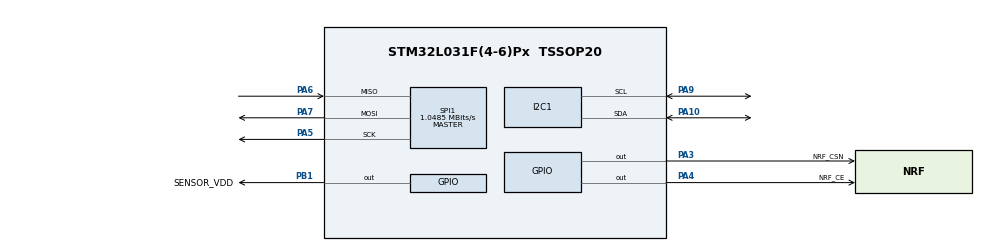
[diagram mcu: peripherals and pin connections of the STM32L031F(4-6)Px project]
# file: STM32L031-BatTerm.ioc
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ADC.LowPowerAutoWait=ENABLE
ADC.SamplingTime=ADC_SAMPLETIME_19CYCLES_5
I2C1.Timing=0x00000608
IWDG.Prescaler=IWDG_PRESCALER_256
Mcu.Family=STM32L0
Mcu.Name=STM32L031F(4-6)Px
Mcu.Package=TSSOP20
NVIC.RTC_IRQn=true\:0\:0\:false\:false\:true\:true\:true\:true
PA10.Mode=I2C
PA10.Signal=I2C1_SDA
PA13.Mode=Serial_Wire
PA13.Signal=SYS_SWDIO
PA14.Mode=Serial_Wire
PA14.Signal=SYS_SWCLK
PA3.GPIO_Label=NRF_CSN
PA3.PinState=GPIO_PIN_SET
PA3.Signal=GPIO_Output
PA4.GPIO_Label=NRF_CE
PA4.PinState=GPIO_PIN_RESET
PA4.Signal=GPIO_Output
PA5.Mode=Full_Duplex_Master
PA5.Signal=SPI1_SCK
PA6.Mode=Full_Duplex_Master
PA6.Signal=SPI1_MISO
PA7.Mode=Full_Duplex_Master
PA7.Signal=SPI1_MOSI
PA9.Mode=I2C
PA9.Signal=I2C1_SCL
PB1.GPIO_Label=SENSOR_VDD
PB1.Signal=GPIO_Output
ProjectManager.HeapSize=0x200
ProjectManager.StackSize=0x400
ProjectManager.TargetToolchain=CMake
RCC.AHBFreq_Value=2097000
RCC.APB1Freq_Value=2097000
RCC.APB1TimFreq_Value=2097000
RCC.APB2Freq_Value=2097000
RCC.APB2TimFreq_Value=2097000
RCC.HSE_VALUE=8000000
RCC.HSI16_VALUE=16000000
RCC.HSI_VALUE=16000000
RCC.I2c1ClockSelection=RCC_I2C1CLKSOURCE_SYSCLK
RCC.LSE_VALUE=32768
RCC.LptimClockSelection=RCC_LPTIM1CLKSOURCE_LSI
RCC.MSI_VALUE=2097000
RCC.SYSCLKFreq_VALUE=2097000
RCC.VCOOutputFreq_Value=48000000
SPI1.CalculateBaudRate=1.0485 MBits/s
SPI1.Direction=SPI_DIRECTION_2LINES
SPI1.Mode=SPI_MODE_MASTER
SPI1.VirtualType=VM_MASTER
TIM22.Prescaler=1
VP_ADC_Vref_Input.Mode=IN-Vrefint
VP_IWDG_VS_IWDG.Mode=IWDG_Activate
VP_RTC_VS_RTC_Activate.Mode=RTC_Enabled
VP_RTC_VS_RTC_WakeUp_intern.Mode=WakeUp
VP_TIM22_VS_ClockSourceINT.Mode=Internal
board=custom

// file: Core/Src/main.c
/* USER CODE BEGIN Header */
/**
  ******************************************************************************
  * @file           : main.c
  * @brief          : Main program body
  ******************************************************************************
  * @attention
  *
  * Copyright (c) 2026 STMicroelectronics.
  * All rights reserved.
  *
  * This software is licensed under terms that can be found in the LICENSE file
  * in the root directory of this software component.
  * If no LICENSE file comes with this software, it is provided AS-IS.
  *
  ******************************************************************************
  */
/* USER CODE END Header */
#include "main.h"

/* USER CODE BEGIN Includes */
#include "stm32l0xx_ll_pwr.h"
#include "stm32l0xx_ll_exti.h"
#include "stm32l0xx_ll_cortex.h"
#include "SEGGER_RTT.h"
#include "aht20.h"
#include "bmp280.h"
#include "nrf24l01.h"
#include "bsp.h"
#include "bsp_periph.h"
/* USER CODE END Includes */

/* USER CODE BEGIN PD */
// #define debug

#define SLEEP_ONE_PHASE_TIME_MS 15000
#define SLEEP_PHASES_NUMBER     40

#define SLEEP_JITTER_LIMIT      10000
/* USER CODE END PD */

/* USER CODE BEGIN PM */
#ifdef debug
    #define DEBUG_RTT_Init()                        SEGGER_RTT_Init()
    #define DEBUG_RTT_WriteString(buffer_index, s)  SEGGER_RTT_WriteString(buffer_index, s)
    #define DEBUG_RTT_PutChar(buffer_index, s)      SEGGER_RTT_PutChar(buffer_index, s)
#else
    #define DEBUG_RTT_Init()
    #define DEBUG_RTT_WriteInt(buffer_index, num)
    #define DEBUG_RTT_WriteString(buffer_index, s)
    #define DEBUG_RTT_PutChar(buffer_index, s)
#endif
/* USER CODE END PM */

/* USER CODE BEGIN PV */
volatile uint32_t system_ticks = 0;
/* USER CODE END PV */

void SystemClock_Config(void);
static void MX_GPIO_Init(void);
static void MX_I2C1_Init(void);
static void MX_SPI1_Init(void);
static void MX_IWDG_Init(void);
static void MX_TIM22_Init(void);
static void MX_ADC_Init(void);
static void MX_RTC_Init(void);
/* USER CODE BEGIN PFP */
#ifdef debug
void DEBUG_RTT_WriteInt(uint8_t buffer_index, int num);
#endif
/* USER CODE END PFP */

int main(void)
{

  /* USER CODE BEGIN 1 */
  AHT20_Data_t aht20_data;
  BMP280_Data_t bmp280_data;
  NRF24_Data_t nrf24_data;
  uint32_t wakeup_counter = 0;
  uint32_t rand_num = 0;
  /* USER CODE END 1 */

  /* MCU Configuration--------------------------------------------------------*/

  /* Reset of all peripherals, Initializes the Flash interface and the Systick. */
  LL_APB2_GRP1_EnableClock(LL_APB2_GRP1_PERIPH_SYSCFG);
  LL_APB1_GRP1_EnableClock(LL_APB1_GRP1_PERIPH_PWR);

  /* SysTick_IRQn interrupt configuration */
  NVIC_SetPriority(SysTick_IRQn, 3);

  /* Configure the system clock */
  SystemClock_Config();

  /* USER CODE BEGIN SysInit */
  LL_SYSTICK_EnableIT();
  LL_mDelay(2000); //SWD escape window to prevent bricking
  /* USER CODE END SysInit */

  /* Initialize all configured peripherals */
  MX_GPIO_Init();
  MX_I2C1_Init();
  MX_SPI1_Init();
  MX_IWDG_Init();
  MX_TIM22_Init();
  MX_ADC_Init();
  MX_RTC_Init();
  /* USER CODE BEGIN 2 */
  LL_PWR_EnableUltraLowPower();

  rand_num = BSP_GetUID();

  #ifdef debug
  DEBUG_RTT_Init();
  DEBUG_RTT_WriteString(0, "RTT initialized.\r\n");
  DEBUG_RTT_WriteString(0, "RCC-CSR: 0x");
  DEBUG_RTT_WriteInt(0, RCC->CSR);
  DEBUG_RTT_PutChar(0, '\n');
  SET_BIT(RCC->CSR, RCC_CSR_RMVF);
  #endif

  BSP_PeriphModeActive();
  NRF24_Init(SPI1);   DEBUG_RTT_WriteString(0, "NRF configured\r\n");
  BMP280_GetCoef(I2C1);  DEBUG_RTT_WriteString(0, "BMP configured\r\n");
  BSP_PeriphModeSleep();
  /* USER CODE END 2 */

  /* Infinite loop */
  while (1)
  {

    /* USER CODE BEGIN 3 */
    nrf24_data.voltage_level = BSP_GetVoltageLevel();

    DEBUG_RTT_WriteString(0, "Periph wake up");
    BSP_PeriphModeActive();

    if(!AHT20_GetData(I2C1, &aht20_data)) {
      BSP_ErrorSet(ERR_SENSORS_ERROR);
      DEBUG_RTT_WriteString(0, "AHT20 Error\n");
    }

    if(!BMP280_GetData(I2C1, &bmp280_data)) {
      BSP_ErrorSet(ERR_SENSORS_ERROR);
      DEBUG_RTT_WriteString(0, "BMP280 Error\n");
    }

    nrf24_data.uid         = BSP_GetUID();
    nrf24_data.temperature = aht20_data.temperature;
    nrf24_data.humidity    = aht20_data.humidity;
    nrf24_data.pressure    = bmp280_data.pressure;
    nrf24_data.errors      = BSP_GetErrors();
    NRF24_TransmitData(SPI1, &nrf24_data, sizeof(nrf24_data));

    BSP_PeriphModeSleep();
    DEBUG_RTT_WriteString(0, "Periph sleep");

    #ifdef debug
    while (SEGGER_RTT_HasDataUp(0) != 0);
    LL_mDelay(5000);
    #endif

    wakeup_counter = 0;
    while (wakeup_counter < SLEEP_PHASES_NUMBER) {
      LL_IWDG_ReloadCounter(IWDG);

      BSP_LowPowerDelay(SLEEP_ONE_PHASE_TIME_MS);

      wakeup_counter++;
    }
    LL_IWDG_ReloadCounter(IWDG);
    uint32_t jitter_sleep_time = (uint32_t)(((uint64_t)BSP_GetRandNum(&rand_num) * SLEEP_JITTER_LIMIT) >> 32);
    BSP_LowPowerDelay(jitter_sleep_time);
  }
  /* USER CODE END 3 */
}

#pragma region SYSTEM_INITS

void SystemClock_Config(void)
{
  LL_FLASH_SetLatency(LL_FLASH_LATENCY_0);
  while(LL_FLASH_GetLatency()!= LL_FLASH_LATENCY_0)
  {
  }
  LL_PWR_SetRegulVoltageScaling(LL_PWR_REGU_VOLTAGE_SCALE1);
  while (LL_PWR_IsActiveFlag_VOS() != 0)
  {
  }
  LL_RCC_LSI_Enable();

   /* Wait till LSI is ready */
  while(LL_RCC_LSI_IsReady() != 1)
  {

  }
  LL_RCC_MSI_Enable();

   /* Wait till MSI is ready */
  while(LL_RCC_MSI_IsReady() != 1)
  {

  }
  LL_RCC_MSI_SetRange(LL_RCC_MSIRANGE_5);
  LL_RCC_MSI_SetCalibTrimming(0);
  LL_PWR_EnableBkUpAccess();
  if(LL_RCC_GetRTCClockSource() != LL_RCC_RTC_CLKSOURCE_LSI)
  {
    LL_RCC_ForceBackupDomainReset();
    LL_RCC_ReleaseBackupDomainReset();
    LL_RCC_SetRTCClockSource(LL_RCC_RTC_CLKSOURCE_LSI);
  }
  LL_RCC_EnableRTC();
  LL_RCC_SetAHBPrescaler(LL_RCC_SYSCLK_DIV_1);
  LL_RCC_SetAPB1Prescaler(LL_RCC_APB1_DIV_1);
  LL_RCC_SetAPB2Prescaler(LL_RCC_APB2_DIV_1);
  LL_RCC_SetSysClkSource(LL_RCC_SYS_CLKSOURCE_MSI);

   /* Wait till System clock is ready */
  while(LL_RCC_GetSysClkSource() != LL_RCC_SYS_CLKSOURCE_STATUS_MSI)
  {

  }

  LL_Init1msTick(2097000);

  LL_SetSystemCoreClock(2097000);
  LL_RCC_SetI2CClockSource(LL_RCC_I2C1_CLKSOURCE_SYSCLK);
}

static void MX_ADC_Init(void)
{

  LL_ADC_REG_InitTypeDef ADC_REG_InitStruct = {0};
  LL_ADC_InitTypeDef ADC_InitStruct = {0};

  /* Peripheral clock enable */
  LL_APB2_GRP1_EnableClock(LL_APB2_GRP1_PERIPH_ADC1);

  /** Configure Regular Channel
  */
  LL_ADC_REG_SetSequencerChAdd(ADC1, LL_ADC_CHANNEL_VREFINT);
  LL_ADC_SetCommonPathInternalCh(__LL_ADC_COMMON_INSTANCE(ADC1), LL_ADC_PATH_INTERNAL_VREFINT);

  /** Common config
  */
  ADC_REG_InitStruct.TriggerSource = LL_ADC_REG_TRIG_SOFTWARE;
  ADC_REG_InitStruct.SequencerDiscont = LL_ADC_REG_SEQ_DISCONT_DISABLE;
  ADC_REG_InitStruct.ContinuousMode = LL_ADC_REG_CONV_SINGLE;
  ADC_REG_InitStruct.DMATransfer = LL_ADC_REG_DMA_TRANSFER_NONE;
  ADC_REG_InitStruct.Overrun = LL_ADC_REG_OVR_DATA_PRESERVED;
  LL_ADC_REG_Init(ADC1, &ADC_REG_InitStruct);
  LL_ADC_SetSamplingTimeCommonChannels(ADC1, LL_ADC_SAMPLINGTIME_19CYCLES_5);
  LL_ADC_SetOverSamplingScope(ADC1, LL_ADC_OVS_DISABLE);
  LL_ADC_REG_SetSequencerScanDirection(ADC1, LL_ADC_REG_SEQ_SCAN_DIR_FORWARD);
  LL_ADC_SetCommonFrequencyMode(__LL_ADC_COMMON_INSTANCE(ADC1), LL_ADC_CLOCK_FREQ_MODE_LOW);
  LL_ADC_DisableIT_EOC(ADC1);
  LL_ADC_DisableIT_EOS(ADC1);
  ADC_InitStruct.Clock = LL_ADC_CLOCK_SYNC_PCLK_DIV1;
  ADC_InitStruct.Resolution = LL_ADC_RESOLUTION_12B;
  ADC_InitStruct.DataAlignment = LL_ADC_DATA_ALIGN_RIGHT;
  ADC_InitStruct.LowPowerMode = LL_ADC_LP_AUTOWAIT;
  LL_ADC_Init(ADC1, &ADC_InitStruct);

  /* Enable ADC internal voltage regulator */
  LL_ADC_EnableInternalRegulator(ADC1);
  /* Delay for ADC internal voltage regulator stabilization. */
  /* Compute number of CPU cycles to wait for, from delay in us. */
  /* Note: Variable divided by 2 to compensate partially */
  /* CPU processing cycles (depends on compilation optimization). */
  /* Note: If system core clock frequency is below 200kHz, wait time */
  /* is only a few CPU processing cycles. */
  uint32_t wait_loop_index;
  wait_loop_index = ((LL_ADC_DELAY_INTERNAL_REGUL_STAB_US * (SystemCoreClock / (100000 * 2))) / 10);
  while(wait_loop_index != 0)
  {
    wait_loop_index--;
  }
  /* USER CODE BEGIN ADC_Init 2 */
  LL_ADC_SetCommonPathInternalCh(__LL_ADC_COMMON_INSTANCE(ADC1), LL_ADC_PATH_INTERNAL_NONE);
  LL_ADC_DisableInternalRegulator(ADC1);
  LL_APB2_GRP1_DisableClock(LL_APB2_GRP1_PERIPH_ADC1);
  /* USER CODE END ADC_Init 2 */

}

static void MX_I2C1_Init(void)
{

  LL_I2C_InitTypeDef I2C_InitStruct = {0};

  LL_GPIO_InitTypeDef GPIO_InitStruct = {0};

  LL_IOP_GRP1_EnableClock(LL_IOP_GRP1_PERIPH_GPIOA);
  /**I2C1 GPIO Configuration
  PA9   ------> I2C1_SCL
  PA10   ------> I2C1_SDA
  */
  GPIO_InitStruct.Pin = LL_GPIO_PIN_9;
  GPIO_InitStruct.Mode = LL_GPIO_MODE_ALTERNATE;
  GPIO_InitStruct.Speed = LL_GPIO_SPEED_FREQ_VERY_HIGH;
  GPIO_InitStruct.OutputType = LL_GPIO_OUTPUT_OPENDRAIN;
  GPIO_InitStruct.Pull = LL_GPIO_PULL_NO;
  GPIO_InitStruct.Alternate = LL_GPIO_AF_1;
  LL_GPIO_Init(GPIOA, &GPIO_InitStruct);

  GPIO_InitStruct.Pin = LL_GPIO_PIN_10;
  GPIO_InitStruct.Mode = LL_GPIO_MODE_ALTERNATE;
  GPIO_InitStruct.Speed = LL_GPIO_SPEED_FREQ_VERY_HIGH;
  GPIO_InitStruct.OutputType = LL_GPIO_OUTPUT_OPENDRAIN;
  GPIO_InitStruct.Pull = LL_GPIO_PULL_NO;
  GPIO_InitStruct.Alternate = LL_GPIO_AF_1;
  LL_GPIO_Init(GPIOA, &GPIO_InitStruct);

  /* Peripheral clock enable */
  LL_APB1_GRP1_EnableClock(LL_APB1_GRP1_PERIPH_I2C1);

  /** I2C Initialization
  */
  LL_I2C_EnableAutoEndMode(I2C1);
  LL_I2C_DisableOwnAddress2(I2C1);
  LL_I2C_DisableGeneralCall(I2C1);
  LL_I2C_EnableClockStretching(I2C1);
  I2C_InitStruct.PeripheralMode = LL_I2C_MODE_I2C;
  I2C_InitStruct.Timing = 0x00000608;
  I2C_InitStruct.AnalogFilter = LL_I2C_ANALOGFILTER_ENABLE;
  I2C_InitStruct.DigitalFilter = 0;
  I2C_InitStruct.OwnAddress1 = 0;
  I2C_InitStruct.TypeAcknowledge = LL_I2C_ACK;
  I2C_InitStruct.OwnAddrSize = LL_I2C_OWNADDRESS1_7BIT;
  LL_I2C_Init(I2C1, &I2C_InitStruct);
  LL_I2C_SetOwnAddress2(I2C1, 0, LL_I2C_OWNADDRESS2_NOMASK);

}

static void MX_IWDG_Init(void)
{

  LL_IWDG_Enable(IWDG);
  LL_IWDG_EnableWriteAccess(IWDG);
  LL_IWDG_SetPrescaler(IWDG, LL_IWDG_PRESCALER_256);
  LL_IWDG_SetReloadCounter(IWDG, 4095);
  while (LL_IWDG_IsReady(IWDG) != 1)
  {
  }

  LL_IWDG_ReloadCounter(IWDG);

}

static void MX_RTC_Init(void)
{

  LL_RTC_InitTypeDef RTC_InitStruct = {0};

  /* Peripheral clock enable */
  LL_RCC_EnableRTC();

  /* RTC interrupt Init */
  NVIC_SetPriority(RTC_IRQn, 0);
  NVIC_EnableIRQ(RTC_IRQn);

  /** Initialize RTC and set the Time and Date
  */
  RTC_InitStruct.HourFormat = LL_RTC_HOURFORMAT_24HOUR;
  RTC_InitStruct.AsynchPrescaler = 127;
  RTC_InitStruct.SynchPrescaler = 255;
  LL_RTC_Init(RTC, &RTC_InitStruct);

  /** Initialize RTC and set the Time and Date
  */

  /** Enable the WakeUp
  */
  LL_RTC_WAKEUP_SetClock(RTC, LL_RTC_WAKEUPCLOCK_DIV_16);
  /* USER CODE BEGIN RTC_Init 2 */
  LL_RTC_DisableWriteProtection(RTC);
  LL_RTC_EnableIT_WUT(RTC);
  LL_RTC_EnableWriteProtection(RTC);

  LL_EXTI_EnableIT_0_31(LL_EXTI_LINE_20);
  LL_EXTI_EnableRisingTrig_0_31(LL_EXTI_LINE_20);
  /* USER CODE END RTC_Init 2 */

}

static void MX_SPI1_Init(void)
{

  LL_SPI_InitTypeDef SPI_InitStruct = {0};

  LL_GPIO_InitTypeDef GPIO_InitStruct = {0};

  /* Peripheral clock enable */
  LL_APB2_GRP1_EnableClock(LL_APB2_GRP1_PERIPH_SPI1);

  LL_IOP_GRP1_EnableClock(LL_IOP_GRP1_PERIPH_GPIOA);
  /**SPI1 GPIO Configuration
  PA5   ------> SPI1_SCK
  PA6   ------> SPI1_MISO
  PA7   ------> SPI1_MOSI
  */
  GPIO_InitStruct.Pin = LL_GPIO_PIN_5;
  GPIO_InitStruct.Mode = LL_GPIO_MODE_ALTERNATE;
  GPIO_InitStruct.Speed = LL_GPIO_SPEED_FREQ_VERY_HIGH;
  GPIO_InitStruct.OutputType = LL_GPIO_OUTPUT_PUSHPULL;
  GPIO_InitStruct.Pull = LL_GPIO_PULL_NO;
  GPIO_InitStruct.Alternate = LL_GPIO_AF_0;
  LL_GPIO_Init(GPIOA, &GPIO_InitStruct);

  GPIO_InitStruct.Pin = LL_GPIO_PIN_6;
  GPIO_InitStruct.Mode = LL_GPIO_MODE_ALTERNATE;
  GPIO_InitStruct.Speed = LL_GPIO_SPEED_FREQ_VERY_HIGH;
  GPIO_InitStruct.OutputType = LL_GPIO_OUTPUT_PUSHPULL;
  GPIO_InitStruct.Pull = LL_GPIO_PULL_NO;
  GPIO_InitStruct.Alternate = LL_GPIO_AF_0;
  LL_GPIO_Init(GPIOA, &GPIO_InitStruct);

  GPIO_InitStruct.Pin = LL_GPIO_PIN_7;
  GPIO_InitStruct.Mode = LL_GPIO_MODE_ALTERNATE;
  GPIO_InitStruct.Speed = LL_GPIO_SPEED_FREQ_VERY_HIGH;
  GPIO_InitStruct.OutputType = LL_GPIO_OUTPUT_PUSHPULL;
  GPIO_InitStruct.Pull = LL_GPIO_PULL_NO;
  GPIO_InitStruct.Alternate = LL_GPIO_AF_0;
  LL_GPIO_Init(GPIOA, &GPIO_InitStruct);

  /* SPI1 parameter configuration*/
  SPI_InitStruct.TransferDirection = LL_SPI_FULL_DUPLEX;
  SPI_InitStruct.Mode = LL_SPI_MODE_MASTER;
  SPI_InitStruct.DataWidth = LL_SPI_DATAWIDTH_8BIT;
  SPI_InitStruct.ClockPolarity = LL_SPI_POLARITY_LOW;
  SPI_InitStruct.ClockPhase = LL_SPI_PHASE_1EDGE;
  SPI_InitStruct.NSS = LL_SPI_NSS_SOFT;
  SPI_InitStruct.BaudRate = LL_SPI_BAUDRATEPRESCALER_DIV2;
  SPI_InitStruct.BitOrder = LL_SPI_MSB_FIRST;
  SPI_InitStruct.CRCCalculation = LL_SPI_CRCCALCULATION_DISABLE;
  SPI_InitStruct.CRCPoly = 7;
  LL_SPI_Init(SPI1, &SPI_InitStruct);
  LL_SPI_SetStandard(SPI1, LL_SPI_PROTOCOL_MOTOROLA);
  /* USER CODE BEGIN SPI1_Init 2 */
  LL_GPIO_SetPinPull(GPIOA, LL_GPIO_PIN_6, LL_GPIO_PULL_DOWN);
  /* USER CODE END SPI1_Init 2 */

}

static void MX_TIM22_Init(void)
{

  LL_TIM_InitTypeDef TIM_InitStruct = {0};

  /* Peripheral clock enable */
  LL_APB2_GRP1_EnableClock(LL_APB2_GRP1_PERIPH_TIM22);

  TIM_InitStruct.Prescaler = 1;
  TIM_InitStruct.CounterMode = LL_TIM_COUNTERMODE_UP;
  TIM_InitStruct.Autoreload = 65535;
  TIM_InitStruct.ClockDivision = LL_TIM_CLOCKDIVISION_DIV1;
  LL_TIM_Init(TIM22, &TIM_InitStruct);
  LL_TIM_DisableARRPreload(TIM22);
  LL_TIM_SetClockSource(TIM22, LL_TIM_CLOCKSOURCE_INTERNAL);
  LL_TIM_SetTriggerOutput(TIM22, LL_TIM_TRGO_RESET);
  LL_TIM_DisableMasterSlaveMode(TIM22);
  /* USER CODE BEGIN TIM22_Init 2 */
  LL_APB2_GRP1_DisableClock(LL_APB2_GRP1_PERIPH_TIM22);
  /* USER CODE END TIM22_Init 2 */

}

static void MX_GPIO_Init(void)
{
  LL_GPIO_InitTypeDef GPIO_InitStruct = {0};

  /* GPIO Ports Clock Enable */
  LL_IOP_GRP1_EnableClock(LL_IOP_GRP1_PERIPH_GPIOC);
  LL_IOP_GRP1_EnableClock(LL_IOP_GRP1_PERIPH_GPIOA);
  LL_IOP_GRP1_EnableClock(LL_IOP_GRP1_PERIPH_GPIOB);

  /**/
  LL_GPIO_SetOutputPin(NRF_CSN_GPIO_Port, NRF_CSN_Pin);

  /**/
  LL_GPIO_ResetOutputPin(NRF_CE_GPIO_Port, NRF_CE_Pin);

  /**/
  LL_GPIO_ResetOutputPin(SENSOR_VDD_GPIO_Port, SENSOR_VDD_Pin);

  /**/
  GPIO_InitStruct.Pin = LL_GPIO_PIN_14;
  GPIO_InitStruct.Mode = LL_GPIO_MODE_ANALOG;
  GPIO_InitStruct.Pull = LL_GPIO_PULL_NO;
  LL_GPIO_Init(GPIOC, &GPIO_InitStruct);

  /**/
  GPIO_InitStruct.Pin = LL_GPIO_PIN_15;
  GPIO_InitStruct.Mode = LL_GPIO_MODE_ANALOG;
  GPIO_InitStruct.Pull = LL_GPIO_PULL_NO;
  LL_GPIO_Init(GPIOC, &GPIO_InitStruct);

  /**/
  GPIO_InitStruct.Pin = LL_GPIO_PIN_0;
  GPIO_InitStruct.Mode = LL_GPIO_MODE_ANALOG;
  GPIO_InitStruct.Pull = LL_GPIO_PULL_NO;
  LL_GPIO_Init(GPIOA, &GPIO_InitStruct);

  /**/
  GPIO_InitStruct.Pin = LL_GPIO_PIN_1;
  GPIO_InitStruct.Mode = LL_GPIO_MODE_ANALOG;
  GPIO_InitStruct.Pull = LL_GPIO_PULL_NO;
  LL_GPIO_Init(GPIOA, &GPIO_InitStruct);

  /**/
  GPIO_InitStruct.Pin = LL_GPIO_PIN_2;
  GPIO_InitStruct.Mode = LL_GPIO_MODE_ANALOG;
  GPIO_InitStruct.Pull = LL_GPIO_PULL_NO;
  LL_GPIO_Init(GPIOA, &GPIO_InitStruct);

  /**/
  GPIO_InitStruct.Pin = NRF_CSN_Pin;
  GPIO_InitStruct.Mode = LL_GPIO_MODE_OUTPUT;
  GPIO_InitStruct.Speed = LL_GPIO_SPEED_FREQ_LOW;
  GPIO_InitStruct.OutputType = LL_GPIO_OUTPUT_PUSHPULL;
  GPIO_InitStruct.Pull = LL_GPIO_PULL_NO;
  LL_GPIO_Init(NRF_CSN_GPIO_Port, &GPIO_InitStruct);

  /**/
  GPIO_InitStruct.Pin = NRF_CE_Pin;
  GPIO_InitStruct.Mode = LL_GPIO_MODE_OUTPUT;
  GPIO_InitStruct.Speed = LL_GPIO_SPEED_FREQ_LOW;
  GPIO_InitStruct.OutputType = LL_GPIO_OUTPUT_PUSHPULL;
  GPIO_InitStruct.Pull = LL_GPIO_PULL_NO;
  LL_GPIO_Init(NRF_CE_GPIO_Port, &GPIO_InitStruct);

  /**/
  GPIO_InitStruct.Pin = SENSOR_VDD_Pin;
  GPIO_InitStruct.Mode = LL_GPIO_MODE_OUTPUT;
  GPIO_InitStruct.Speed = LL_GPIO_SPEED_FREQ_LOW;
  GPIO_InitStruct.OutputType = LL_GPIO_OUTPUT_PUSHPULL;
  GPIO_InitStruct.Pull = LL_GPIO_PULL_NO;
  LL_GPIO_Init(SENSOR_VDD_GPIO_Port, &GPIO_InitStruct);

  /* USER CODE BEGIN MX_GPIO_Init_2 */
  #ifndef debug
  LL_GPIO_SetPinMode(GPIOA, LL_GPIO_PIN_13, LL_GPIO_MODE_ANALOG);
  LL_GPIO_SetPinMode(GPIOA, LL_GPIO_PIN_14, LL_GPIO_MODE_ANALOG);
  #endif
  /* USER CODE END MX_GPIO_Init_2 */
}

#pragma endregion

/* USER CODE BEGIN 4 */
#ifdef debug
void DEBUG_RTT_WriteInt(uint8_t buffer_index, int num) {
  if (num == 0) { DEBUG_RTT_PutChar(buffer_index, '0'); return; }
  if (num < 0)  { DEBUG_RTT_PutChar(buffer_index, '-'); num = -num; }
  if (num >= 10){ DEBUG_RTT_WriteInt(buffer_index, num / 10); }
  DEBUG_RTT_PutChar(buffer_index, (num % 10) + '0');
}
#endif

/* USER CODE END 4 */

void Error_Handler(void)
{
  __disable_irq();
  while (1)
  {
  }
}
